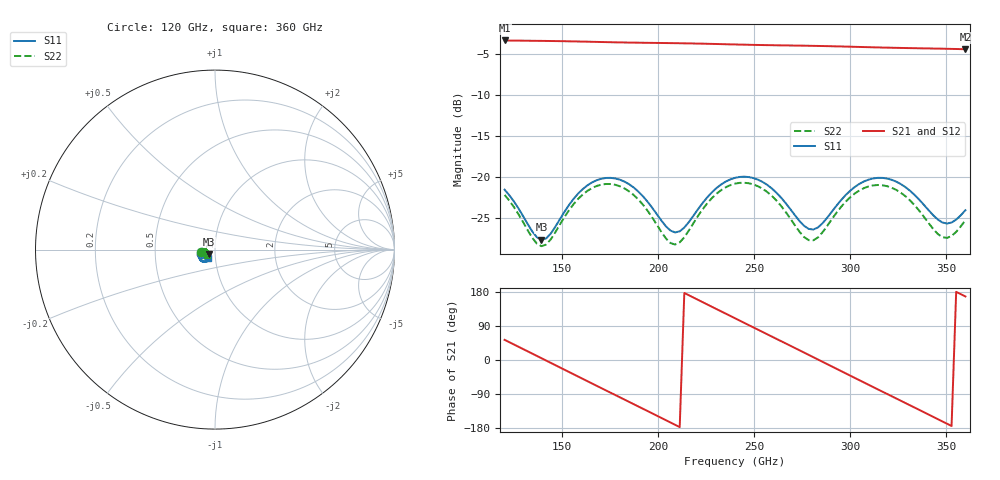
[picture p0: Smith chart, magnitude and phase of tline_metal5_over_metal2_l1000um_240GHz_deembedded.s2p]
! Created with skrf 2.0.1 (http://scikit-rf.org).
# GHz S DB R 50.0
!freq dBS11 angS11 dBS21 angS21 dBS12 angS12 dBS22 angS22
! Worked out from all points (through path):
!   101 points, 120 GHz to 360 GHz, reference 50 ohm
!   highest |S21| = -3.39 dB at 120 GHz (marker M1); lowest = -4.5 dB at 360 GHz (marker M2)
!   group delay of S21, straight-line fit = 7.01 ps
!   lowest |S11| = -27.6 dB at 139.2 GHz (marker M3), VSWR 1.09, Z = 46.6 - j2.21 ohm
!   |S11| at or under -10 dB: start of sweep to end of sweep
!   |S22| runs from -28.4 to -20.7 dB; largest |S21 - S12| = 7.1e-14
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120  -21.52 -163.1  -3.39 53.1  -3.39 53.1  -22.15 -170.1
139.2  -27.61 -145.5  -3.44 4.7  -3.44 4.7  -28.38 -152.8
148.8  -25.10 -121.6  -3.47 -19.6  -3.47 -19.6  -25.75 -129.7
160.8  -21.42 -126.3  -3.53 -49.9  -3.53 -49.9  -22.08 -135.8
170.4  -20.19 -139.1  -3.58 -74.2  -3.58 -74.2  -20.90 -149.7
180  -20.30 -153.1  -3.62 -98.4  -3.62 -98.4  -21.10 -164.7
189.6  -21.73 -164.4  -3.66 -122.5  -3.66 -122.5  -22.69 -177.0
201.6  -25.25 -164.0  -3.70 -152.8  -3.70 -152.8  -26.63 -176.5
208.8  -26.71 -147.3  -3.72 -171.0  -3.72 -171.0  -28.18 -157.0
220.8  -23.87 -125.2  -3.77 158.6  -3.77 158.6  -24.69 -134.7
240  -20.08 -140.7  -3.87 110.1  -3.87 110.1  -20.79 -154.0
249.6  -20.11 -153.6  -3.93 86.0  -3.93 86.0  -20.88 -168.3
259.2  -21.37 -164.4  -3.97 61.8  -3.97 61.8  -22.27 179.7
271.2  -24.61 -165.7  -4.01 31.6  -4.01 31.6  -25.84 177.8
280.8  -26.35 -145.2  -4.04 7.3  -4.04 7.3  -27.67 -159.4
292.8  -23.48 -126.5  -4.10 -23.0  -4.10 -23.0  -24.34 -141.4
304.8  -20.81 -133.1  -4.18 -53.3  -4.18 -53.3  -21.61 -150.4
321.6  -20.32 -153.0  -4.27 -95.6  -4.27 -95.6  -21.28 -173.0
331.2  -21.66 -161.8  -4.32 -119.7  -4.32 -119.7  -22.83 176.8
343.2  -24.61 -159.1  -4.37 -149.9  -4.37 -149.9  -26.28 179.6
350.4  -25.63 -145.0  -4.40 -168.1  -4.40 -168.1  -27.38 -163.5
360  -24.01 -128.1  -4.45 167.7  -4.45 167.7  -25.24 -145.8
